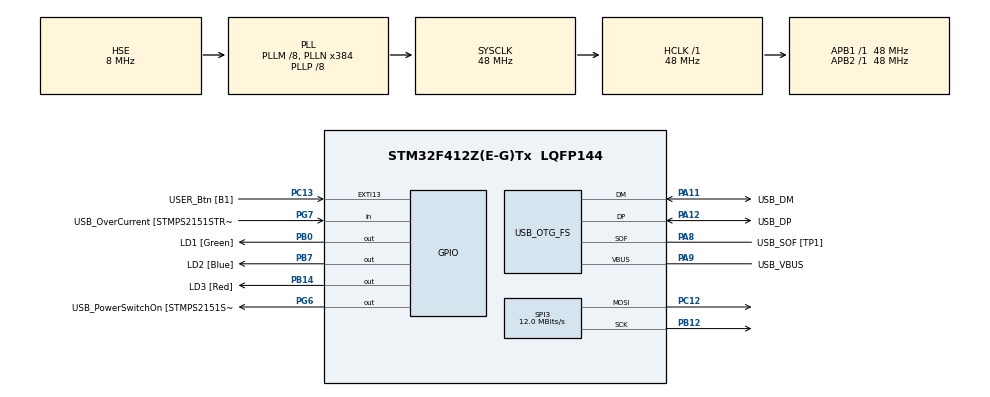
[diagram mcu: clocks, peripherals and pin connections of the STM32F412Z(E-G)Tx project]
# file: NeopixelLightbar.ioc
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Mcu.Family=STM32F4
Dma.SPI3_TX.0.FIFOMode=DMA_FIFOMODE_DISABLE
Dma.SPI3_TX.0.Priority=DMA_PRIORITY_LOW
Dma.SPI3_TX.0.MemInc=DMA_MINC_ENABLE
USB_DEVICE.CLASS_NAME_FS=CDC
RCC.CortexFreq_Value=48000000
SPI3.Direction=SPI_DIRECTION_2LINES
SPI3.VirtualType=VM_MASTER
PG6.Signal=GPIO_Output
PC12.Signal=SPI3_MOSI
PB14.GPIO_Label=LD3 [Red]
PG6.GPIO_Label=USB_PowerSwitchOn [STMPS2151STR_EN]
PA14.GPIO_Label=TCK
RCC.SYSCLKSourceVirtual=RCC_SYSCLKSOURCE_PLLCLK
PA11.Mode=Device_Only
PB0.GPIO_Label=LD1 [Green]
Dma.SPI3_TX.0.PeriphDataAlignment=DMA_PDATAALIGN_BYTE
PC13.GPIO_Label=USER_Btn [B1]
RCC.SYSCLKSource=RCC_SYSCLKSOURCE_PLLCLK
ProjectManager.StackSize=0x400
PA12.Signal=USB_OTG_FS_DP
PH0\ -\ OSC_IN.Signal=RCC_OSC_IN
RCC.HCLKFreq_Value=48000000
RCC.APB2TimFreq_Value=48000000
PD8.Signal=USART3_TX
Dma.SPI3_TX.0.Direction=DMA_MEMORY_TO_PERIPH
RCC.AHBFreq_Value=48000000
RCC.HSE_VALUE=8000000
RCC.PLLMUL=RCC_PLL_MUL9
PC14-OSC32_IN.Mode=LSE-External-Oscillator
PA14.Mode=Serial_Wire
PA10.GPIO_Label=USB_ID
PB7.Signal=GPIO_Output
PA8.Signal=USB_OTG_FS_SOF
Dma.SPI3_TX.0.MemDataAlignment=DMA_MDATAALIGN_BYTE
PB7.GPIO_Label=LD2 [Blue]
Mcu.Package=LQFP144
PB12.Mode=TX_Only_Simplex_Unidirect_Master
SPI3.Mode=SPI_MODE_MASTER
NVIC.OTG_FS_IRQn=true\:0\:0\:false\:false\:true\:false\:true
PA10.Signal=USB_OTG_FS_ID
USB_OTG_FS.VirtualMode=Device_Only
RCC.APB1TimFreq_Value=48000000
Dma.Request0=SPI3_TX
PB3.GPIO_Label=SWO
PC15-OSC32_OUT.Mode=LSE-External-Oscillator
PG7.Signal=GPIO_Input
PD9.GPIO_Label=STLK_TX [STM32F103CBT6_PA2]
USB_DEVICE.VirtualModeFS=Cdc_FS
PA9.GPIO_Label=USB_VBUS
PC13.Signal=GPXTI13
PH1\ -\ OSC_OUT.Mode=HSE-External-Clock-Source
PA11.GPIO_Label=USB_DM
PD9.Signal=USART3_RX
PC14-OSC32_IN.Signal=RCC_OSC32_IN
PA12.GPIO_Label=USB_DP
PD8.GPIO_Label=STLK_RX [STM32F103CBT6_PA3]
PA13.Signal=SYS_JTMS-SWDIO
PA9.Mode=Activate_VBUS
PH0\ -\ OSC_IN.Mode=HSE-External-Clock-Source
PA8.GPIO_Label=USB_SOF [TP1]
ProjectManager.TargetToolchain=Makefile
NVIC.DMA1_Stream5_IRQn=true\:0\:0\:false\:false\:true\:false\:true
VP_USB_DEVICE_VS_USB_DEVICE_CDC_FS.Mode=CDC_FS
PA9.Signal=USB_OTG_FS_VBUS
Dma.SPI3_TX.0.PeriphInc=DMA_PINC_DISABLE
RCC.USBFreq_Value=48000000
PC15-OSC32_OUT.Signal=RCC_OSC32_OUT
PB14.Signal=GPIO_Output
PC12.Mode=TX_Only_Simplex_Unidirect_Master
PH1\ -\ OSC_OUT.Signal=RCC_OSC_OUT
board=NUCLEO-F412ZG
RCC.VCOOutputFreq_Value=384000000
RCC.APB2Freq_Value=48000000
SPI3.CalculateBaudRate=12.0 MBits/s
RCC.PRESCALERUSB=RCC_USBCLKSOURCE_PLL_DIV1_5
PG7.GPIO_Label=USB_OverCurrent [STMPS2151STR_FAULT]
SPI3.BaudRatePrescaler=SPI_BAUDRATEPRESCALER_4
Dma.SPI3_TX.0.Instance=DMA1_Stream5
PA13.Mode=Serial_Wire
Mcu.Name=STM32F412Z(E-G)Tx
PA13.GPIO_Label=TMS
RCC.48MHZClocksFreq_Value=24000000
PB3.Signal=SYS_JTDO-SWO
RCC.SYSCLKFreq_VALUE=48000000
PA12.Mode=Device_Only
Dma.SPI3_TX.0.Mode=DMA_NORMAL
PA11.Signal=USB_OTG_FS_DM
PA14.Signal=SYS_JTCK-SWCLK
ProjectManager.HeapSize=0x200
RCC.HSI_VALUE=16000000
RCC.PLLP=RCC_PLLP_DIV8
RCC.PLLQ=8
NVIC.PriorityGroup=NVIC_PRIORITYGROUP_4
RCC.PLLM=8
RCC.PLLN=384
PH0\ -\ OSC_IN.GPIO_Label=MCO
PA8.Mode=Activate_SOF_FS
RCC.APB1Freq_Value=48000000
PB0.Signal=GPIO_Output
USB_DEVICE.VirtualMode=Cdc
PB12.Signal=SPI3_SCK
PA7.Signal=SPI1_MOSI

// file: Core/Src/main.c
/* USER CODE BEGIN Header */
/**
  ******************************************************************************
  * @file           : main.c
  * @brief          : Main program body
  ******************************************************************************
  * @attention
  *
  * <h2><center>&copy; Copyright (c) 2020 STMicroelectronics.
  * All rights reserved.</center></h2>
  *
  * This software component is licensed by ST under Ultimate Liberty license
  * SLA0044, the "License"; You may not use this file except in compliance with
  * the License. You may obtain a copy of the License at:
  *                             www.st.com/SLA0044
  *
  ******************************************************************************
  */
/* USER CODE END Header */
#include "main.h"
#include "dma.h"
#include "spi.h"
#include "usb_device.h"
#include "gpio.h"

/* USER CODE BEGIN Includes */
#include "DigiLed.h"

/* USER CODE END Includes */

void SystemClock_Config(void);

int main(void)
{

  /* MCU Configuration--------------------------------------------------------*/

  /* Reset of all peripherals, Initializes the Flash interface and the Systick. */
  HAL_Init();

  /* Configure the system clock */
  SystemClock_Config();

  /* Initialize all configured peripherals */
  MX_GPIO_Init();
  MX_DMA_Init();
  MX_USB_DEVICE_Init();
  MX_SPI3_Init();

  /* Infinite loop */
  /* USER CODE BEGIN WHILE */
  DigiLed_init(&hspi3);

  while (1)
  {
    //Cycling through for different colors. All color range(0-255)
    //Red
    for(int i=0; i<120; i++){
      DigiLed_setColor(i,250,0,0);
      DigiLed_update(TRUE);
      HAL_Delay(10);
    }
    //Green
    for(int i=0; i<120; i++){
      DigiLed_setColor(i,0,250,0);
      DigiLed_update(TRUE);
      HAL_Delay(10);
    }
    //Blue
    for(int i=0; i<120; i++){
      DigiLed_setColor(i,0,0,250);
      DigiLed_update(TRUE);
      HAL_Delay(10);
    }
    //White
    for(int i=0; i<120; i++){
      DigiLed_setColor(i,250,250,250);
      DigiLed_update(TRUE);
      HAL_Delay(10);
    }
    /* USER CODE END WHILE */

  }
}

void SystemClock_Config(void)
{
  RCC_OscInitTypeDef RCC_OscInitStruct = {0};
  RCC_ClkInitTypeDef RCC_ClkInitStruct = {0};
  RCC_PeriphCLKInitTypeDef PeriphClkInitStruct = {0};

  /** Configure the main internal regulator output voltage
  */
  __HAL_RCC_PWR_CLK_ENABLE();
  __HAL_PWR_VOLTAGESCALING_CONFIG(PWR_REGULATOR_VOLTAGE_SCALE1);
  /** Initializes the RCC Oscillators according to the specified parameters
  * in the RCC_OscInitTypeDef structure.
  */
  RCC_OscInitStruct.OscillatorType = RCC_OSCILLATORTYPE_HSE;
  RCC_OscInitStruct.HSEState = RCC_HSE_BYPASS;
  RCC_OscInitStruct.PLL.PLLState = RCC_PLL_ON;
  RCC_OscInitStruct.PLL.PLLSource = RCC_PLLSOURCE_HSE;
  RCC_OscInitStruct.PLL.PLLM = 8;
  RCC_OscInitStruct.PLL.PLLN = 384;
  RCC_OscInitStruct.PLL.PLLP = RCC_PLLP_DIV8;
  RCC_OscInitStruct.PLL.PLLQ = 8;
  RCC_OscInitStruct.PLL.PLLR = 2;
  if (HAL_RCC_OscConfig(&RCC_OscInitStruct) != HAL_OK)
  {
    Error_Handler();
  }
  /** Initializes the CPU, AHB and APB buses clocks
  */
  RCC_ClkInitStruct.ClockType = RCC_CLOCKTYPE_HCLK|RCC_CLOCKTYPE_SYSCLK
                              |RCC_CLOCKTYPE_PCLK1|RCC_CLOCKTYPE_PCLK2;
  RCC_ClkInitStruct.SYSCLKSource = RCC_SYSCLKSOURCE_PLLCLK;
  RCC_ClkInitStruct.AHBCLKDivider = RCC_SYSCLK_DIV1;
  RCC_ClkInitStruct.APB1CLKDivider = RCC_HCLK_DIV1;
  RCC_ClkInitStruct.APB2CLKDivider = RCC_HCLK_DIV1;

  if (HAL_RCC_ClockConfig(&RCC_ClkInitStruct, FLASH_LATENCY_1) != HAL_OK)
  {
    Error_Handler();
  }
  PeriphClkInitStruct.PeriphClockSelection = RCC_PERIPHCLK_CLK48;
  PeriphClkInitStruct.Clk48ClockSelection = RCC_CLK48CLKSOURCE_PLLQ;
  if (HAL_RCCEx_PeriphCLKConfig(&PeriphClkInitStruct) != HAL_OK)
  {
    Error_Handler();
  }
}

void Error_Handler(void)
{
}

/************************ (C) COPYRIGHT STMicroelectronics *****END OF FILE****/
